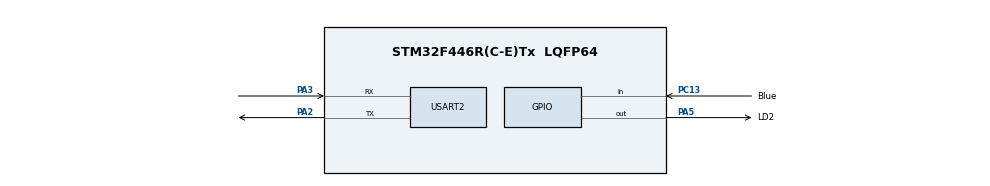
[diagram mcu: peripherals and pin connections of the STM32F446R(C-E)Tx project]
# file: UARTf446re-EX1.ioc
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Mcu.Family=STM32F4
Mcu.Name=STM32F446R(C-E)Tx
Mcu.Package=LQFP64
NVIC.PriorityGroup=NVIC_PRIORITYGROUP_4
PA2.Mode=Asynchronous
PA2.Signal=USART2_TX
PA3.Mode=Asynchronous
PA3.Signal=USART2_RX
PA5.GPIO_Label=LD2
PA5.Signal=GPIO_Output
PC13.GPIO_Label=Blue
PC13.Signal=GPIO_Input
ProjectManager.HeapSize=0x200
ProjectManager.StackSize=0x400
ProjectManager.TargetToolchain=STM32CubeIDE
RCC.CortexFreq_Value=16000000
RCC.USBFreq_Value=96000000
RCC.VCOOutputFreq_Value=192000000
USART2.VirtualMode=VM_ASYNC
board=custom

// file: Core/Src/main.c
/* USER CODE BEGIN Header */
/**
  ******************************************************************************
  * @file           : main.c
  * @brief          : Main program body
  ******************************************************************************
  * @attention
  *
  * Copyright (c) 2025 STMicroelectronics.
  * All rights reserved.
  *
  * This software is licensed under terms that can be found in the LICENSE file
  * in the root directory of this software component.
  * If no LICENSE file comes with this software, it is provided AS-IS.
  *
  ******************************************************************************
  */
/* USER CODE END Header */
#include "main.h"
#include <string.h>
#include <stdio.h>
#include <stdlib.h>

/* USER CODE BEGIN PD */
#define WELCOME_MSG "Welcome to the Nucleo management console\r\n"
#define MAIN_MENU   "Select the option you are interested in:\r\n\t1. Toggle LD2 LED\r\n\t2. Read USER BUTTON status\r\n\t3. Clear screen and print this message "
#define PROMPT "\r\n> "

/* USER CODE END PD */

UART_HandleTypeDef huart2;

/* USER CODE BEGIN PV */
uint8_t msg[27] = "Hi I'm John";
/* USER CODE END PV */

void SystemClock_Config(void);
static void MX_GPIO_Init(void);
static void MX_USART2_UART_Init(void);
void printWelcomeMessage(void);
uint8_t processUserInput(uint8_t opt);
uint8_t readUserInput(void);

int main(void)
{

  /* USER CODE BEGIN 1 */
  uint8_t opt = 0;
  /* USER CODE END 1 */

  /* MCU Configuration--------------------------------------------------------*/

  /* Reset of all peripherals, Initializes the Flash interface and the Systick. */
  HAL_Init();

  /* Configure the system clock */
  SystemClock_Config();

  /* Initialize all configured peripherals */
  MX_GPIO_Init();
  MX_USART2_UART_Init();

printMessage:

	printWelcomeMessage();

	while (1)  {
	  opt = readUserInput();
	  processUserInput(opt);
	  if(opt == 3)
		goto printMessage;
	  }
}

void SystemClock_Config(void)
{
  RCC_OscInitTypeDef RCC_OscInitStruct = {0};
  RCC_ClkInitTypeDef RCC_ClkInitStruct = {0};

  /** Configure the main internal regulator output voltage
  */
  __HAL_RCC_PWR_CLK_ENABLE();
  __HAL_PWR_VOLTAGESCALING_CONFIG(PWR_REGULATOR_VOLTAGE_SCALE3);

  /** Initializes the RCC Oscillators according to the specified parameters
  * in the RCC_OscInitTypeDef structure.
  */
  RCC_OscInitStruct.OscillatorType = RCC_OSCILLATORTYPE_HSI;
  RCC_OscInitStruct.HSIState = RCC_HSI_ON;
  RCC_OscInitStruct.HSICalibrationValue = RCC_HSICALIBRATION_DEFAULT;
  RCC_OscInitStruct.PLL.PLLState = RCC_PLL_NONE;
  if (HAL_RCC_OscConfig(&RCC_OscInitStruct) != HAL_OK)
  {
    Error_Handler();
  }

  /** Initializes the CPU, AHB and APB buses clocks
  */
  RCC_ClkInitStruct.ClockType = RCC_CLOCKTYPE_HCLK|RCC_CLOCKTYPE_SYSCLK
                              |RCC_CLOCKTYPE_PCLK1|RCC_CLOCKTYPE_PCLK2;
  RCC_ClkInitStruct.SYSCLKSource = RCC_SYSCLKSOURCE_HSI;
  RCC_ClkInitStruct.AHBCLKDivider = RCC_SYSCLK_DIV1;
  RCC_ClkInitStruct.APB1CLKDivider = RCC_HCLK_DIV1;
  RCC_ClkInitStruct.APB2CLKDivider = RCC_HCLK_DIV1;

  if (HAL_RCC_ClockConfig(&RCC_ClkInitStruct, FLASH_LATENCY_0) != HAL_OK)
  {
    Error_Handler();
  }
}

static void MX_USART2_UART_Init(void)
{

  huart2.Instance = USART2;
  huart2.Init.BaudRate = 115200;
  huart2.Init.WordLength = UART_WORDLENGTH_8B;
  huart2.Init.StopBits = UART_STOPBITS_1;
  huart2.Init.Parity = UART_PARITY_NONE;
  huart2.Init.Mode = UART_MODE_TX_RX;
  huart2.Init.HwFlowCtl = UART_HWCONTROL_NONE;
  huart2.Init.OverSampling = UART_OVERSAMPLING_16;
  if (HAL_UART_Init(&huart2) != HAL_OK)
  {
    Error_Handler();
  }

}

static void MX_GPIO_Init(void)
{
  GPIO_InitTypeDef GPIO_InitStruct = {0};

  /* GPIO Ports Clock Enable */
  __HAL_RCC_GPIOC_CLK_ENABLE();
  __HAL_RCC_GPIOA_CLK_ENABLE();

  /*Configure GPIO pin Output Level */
  HAL_GPIO_WritePin(LD2_GPIO_Port, LD2_Pin, GPIO_PIN_RESET);

  /*Configure GPIO pin : Blue_Pin */
  GPIO_InitStruct.Pin = Blue_Pin;
  GPIO_InitStruct.Mode = GPIO_MODE_INPUT;
  GPIO_InitStruct.Pull = GPIO_NOPULL;
  HAL_GPIO_Init(Blue_GPIO_Port, &GPIO_InitStruct);

  /*Configure GPIO pin : LD2_Pin */
  GPIO_InitStruct.Pin = LD2_Pin;
  GPIO_InitStruct.Mode = GPIO_MODE_OUTPUT_PP;
  GPIO_InitStruct.Pull = GPIO_NOPULL;
  GPIO_InitStruct.Speed = GPIO_SPEED_FREQ_LOW;
  HAL_GPIO_Init(LD2_GPIO_Port, &GPIO_InitStruct);

}

/* USER CODE BEGIN 4 */
void printWelcomeMessage(void) {
	HAL_UART_Transmit(&huart2, (uint8_t*)"\033[0;0H", strlen("\033[0;0H"), HAL_MAX_DELAY);
	HAL_UART_Transmit(&huart2, (uint8_t*)"\033[2J", strlen("\033[2J"), HAL_MAX_DELAY);
	HAL_UART_Transmit(&huart2, (uint8_t*)WELCOME_MSG, strlen(WELCOME_MSG), HAL_MAX_DELAY);
	HAL_UART_Transmit(&huart2, (uint8_t*)MAIN_MENU, strlen(MAIN_MENU), HAL_MAX_DELAY);
}

uint8_t readUserInput(void) {
	char readBuf[1];

	HAL_UART_Transmit(&huart2, (uint8_t*)PROMPT, strlen(PROMPT), HAL_MAX_DELAY);
	HAL_UART_Receive(&huart2, (uint8_t*)readBuf, 1, HAL_MAX_DELAY);
	return atoi(readBuf);
}

uint8_t processUserInput(uint8_t opt) {
  char msg[30];

  if(!opt || opt > 3)
    return 0;

  sprintf(msg, "%d", opt);
  HAL_UART_Transmit(&huart2, (uint8_t*)msg, strlen(msg), HAL_MAX_DELAY);

  switch(opt) {
  case 1:
    HAL_GPIO_TogglePin(GPIOA, GPIO_PIN_5);
    break;
  case 2:
    sprintf(msg, "\r\nUSER BUTTON status: %s", HAL_GPIO_ReadPin(GPIOC, GPIO_PIN_13) == GPIO_PIN_RESET ? "PRESSED" : "RELEASED");
    HAL_UART_Transmit(&huart2, (uint8_t*)msg, strlen(msg), HAL_MAX_DELAY);
    break;
  case 3:
    return 2;
  };

  return 1;
}
/* USER CODE END 4 */

void Error_Handler(void)
{
  __disable_irq();
  while (1)
  {
  }
}
